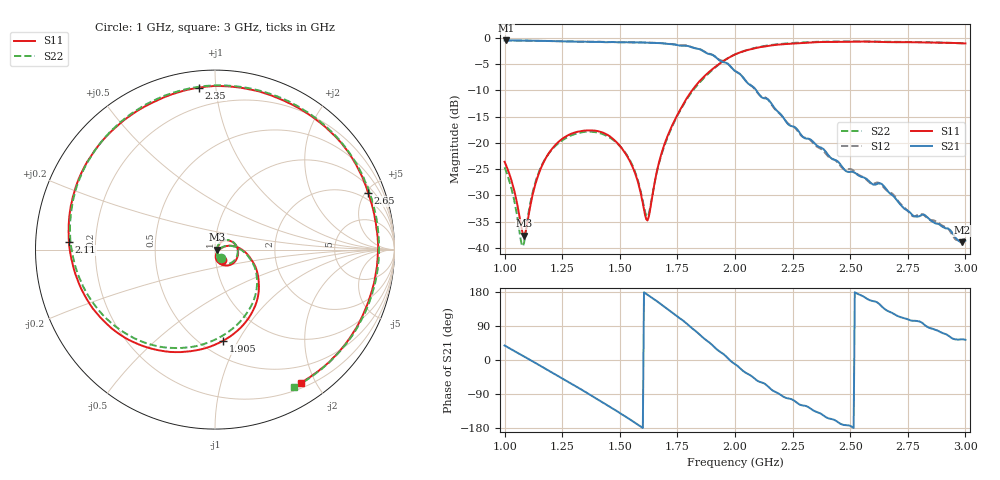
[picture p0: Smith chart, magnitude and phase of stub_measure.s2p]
! ZVRE, 3.52
! symbol freq-unit parameter-type data-format keyword impedance-ohm
#  HZ  S  RI  R  50
! freq  reS11  imS11  reS21  imS21  reS12  imS12  reS22  imS22
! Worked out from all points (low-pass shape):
!   401 points, 1 GHz to 3 GHz, reference 50 ohm
!   highest |S21| = -0.51 dB at 1.005 GHz (marker M1); lowest = -38.9 dB at 2.985 GHz (marker M2)
!   |S21| within 3 dB of the highest: start of sweep to 1.912 GHz
!   lowest |S11| = -37.7 dB at 1.085 GHz (marker M3), VSWR 1.03, Z = 51.3 - j0.0501 ohm
!   |S11| at or under -10 dB: start of sweep to 1.814 GHz
!   |S22| runs from -39.6 to -0.7 dB; largest |S21 - S12| = 0.016
!   S11 on the Smith chart (normalised r, x): 1 GHz: 1.07, -0.12; 1.905 GHz: 0.63, -0.87; 2.11 GHz: 0.10, +0.03; 2.35 GHz: 0.09, +0.90; 2.65 GHz: 1.40, +5.20; 3 GHz: 0.27, -1.80
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1e9  0.0364 -0.0552  0.7405 0.5831  0.7408 0.5819  0.0361 -0.0463
1.005e9  0.0331 -0.0528  0.7581 0.5611  0.7579 0.5599  0.0331 -0.0438
1.085e9  0.0131 -0.000488  0.929 0.148  0.9289 0.1483  0.0105 0.00445
1.17e9  0.0448 0.0483  0.876 -0.3259  0.876 -0.3252  0.0454 0.0489
1.335e9  0.129 -0.0159  0.1816 -0.8988  0.1861 -0.9003  0.1261 -0.00501
1.415e9  0.1043 -0.0738  -0.2808 -0.8684  -0.2792 -0.8727  0.1074 -0.0611
1.51e9  0.0331 -0.0816  -0.727 -0.5406  -0.7269 -0.5444  0.0428 -0.0773
1.615e9  0.0126 -0.014  -0.8943 0.086  -0.8965 0.0833  0.016 -0.0125
1.67e9  0.0623 0.0194  -0.7799 0.4299  -0.7834 0.428  0.0604 0.0206
1.79e9  0.2345 -0.123  -0.0903 0.8339  -0.0893 0.8407  0.2283 -0.1231
1.905e9  0.0457 -0.5077  0.5436 0.413  0.5455 0.4107  -0.000186 -0.502
2e9  -0.4762 -0.5051  0.4754 -0.0907  0.4753 -0.091  -0.5324 -0.4444
2.11e9  -0.814 0.0437  0.1469 -0.2378  0.152 -0.2362  -0.8065 0.1576
2.225e9  -0.6188 0.6165  -0.0288 -0.1531  -0.0264 -0.1547  -0.5299 0.7079
2.335e9  -0.1531 0.8905  -0.0691 -0.0786  -0.0678 -0.0761  -0.0539 0.9117
2.35e9  -0.0901 0.9026  -0.0696 -0.0671  -0.067 -0.0658  0.011 0.9151
2.49e9  0.4776 0.7817  -0.0526 -0.00709  -0.0552 -0.0101  0.5436 0.7452
2.65e9  0.8536 0.3168  -0.0265 0.0271  -0.0263 0.0258  0.8731 0.2825
2.67e9  0.8734 0.253  -0.0203 0.0265  -0.0217 0.0261  0.8901 0.2176
2.825e9  0.8579 -0.28  -0.000483 0.0205  -0.00046 0.0201  0.8534 -0.3112
2.985e9  0.5312 -0.709  0.00653 0.00926  0.00679 0.00987  0.4911 -0.7384
3e9  0.479 -0.7431  0.00703 0.00944  0.00756 0.00956  0.4417 -0.7672
